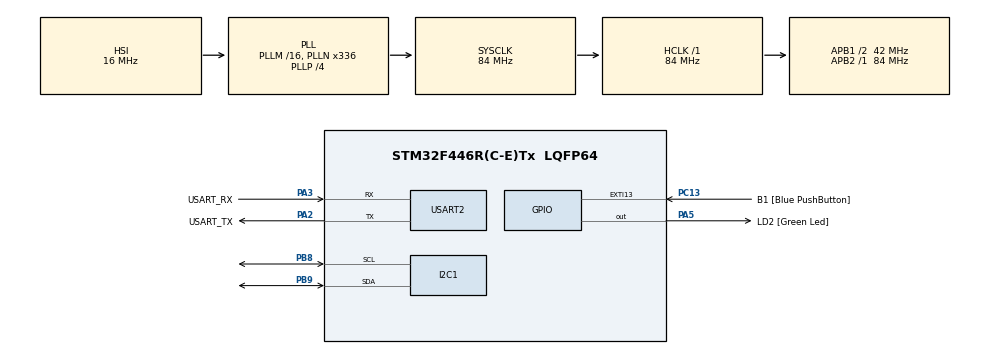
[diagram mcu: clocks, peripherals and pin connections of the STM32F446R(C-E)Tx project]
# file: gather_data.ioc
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Mcu.Family=STM32F4
Mcu.Name=STM32F446R(C-E)Tx
Mcu.Package=LQFP64
NVIC.PriorityGroup=NVIC_PRIORITYGROUP_0
PA13.GPIO_Label=TMS
PA13.Mode=Serial_Wire
PA13.Signal=SYS_JTMS-SWDIO
PA14.GPIO_Label=TCK
PA14.Mode=Serial_Wire
PA14.Signal=SYS_JTCK-SWCLK
PA2.GPIO_Label=USART_TX
PA2.Mode=Asynchronous
PA2.Signal=USART2_TX
PA3.GPIO_Label=USART_RX
PA3.Mode=Asynchronous
PA3.Signal=USART2_RX
PA5.GPIO_Label=LD2 [Green Led]
PA5.Signal=GPIO_Output
PB3.GPIO_Label=SWO
PB3.Signal=SYS_JTDO-SWO
PB8.Mode=I2C
PB8.Signal=I2C1_SCL
PB9.Mode=I2C
PB9.Signal=I2C1_SDA
PC13.GPIO_Label=B1 [Blue PushButton]
PC13.GPIO_ModeDefaultEXTI=GPIO_MODE_IT_FALLING
PC13.Signal=GPXTI13
PC14-OSC32_IN.Mode=LSE-External-Oscillator
PC14-OSC32_IN.Signal=RCC_OSC32_IN
PC15-OSC32_OUT.Mode=LSE-External-Oscillator
PC15-OSC32_OUT.Signal=RCC_OSC32_OUT
PH0-OSC_IN.Mode=HSE-External-Oscillator
PH0-OSC_IN.Signal=RCC_OSC_IN
PH1-OSC_OUT.Mode=HSE-External-Oscillator
PH1-OSC_OUT.Signal=RCC_OSC_OUT
ProjectManager.HeapSize=0x200
ProjectManager.StackSize=0x400
ProjectManager.TargetToolchain=STM32CubeIDE
RCC.48MHZClocksFreq_Value=84000000
RCC.AHBFreq_Value=84000000
RCC.APB1CLKDivider=RCC_HCLK_DIV2
RCC.APB1Freq_Value=42000000
RCC.APB1TimFreq_Value=84000000
RCC.APB2Freq_Value=84000000
RCC.APB2TimFreq_Value=84000000
RCC.CortexFreq_Value=84000000
RCC.FLatency-AdvancedSettings=FLASH_LATENCY_2
RCC.HCLKFreq_Value=84000000
RCC.HSE_VALUE=8000000
RCC.HSI_VALUE=16000000
RCC.PLLN=336
RCC.PLLP=RCC_PLLP_DIV4
RCC.SYSCLKFreq_VALUE=84000000
RCC.SYSCLKSource=RCC_SYSCLKSOURCE_PLLCLK
RCC.USBFreq_Value=168000000
RCC.VCOOutputFreq_Value=336000000
USART2.VirtualMode=VM_ASYNC
board=NUCLEO-F446RE

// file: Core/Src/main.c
/* USER CODE BEGIN Header */
/**
  ******************************************************************************
  * @file           : main.c
  * @brief          : Main program body
  ******************************************************************************
  * @attention
  *
  * Copyright (c) 2025 STMicroelectronics.
  * All rights reserved.
  *
  * This software is licensed under terms that can be found in the LICENSE file
  * in the root directory of this software component.
  * If no LICENSE file comes with this software, it is provided AS-IS.
  *
  ******************************************************************************
  */
/* USER CODE END Header */
#include "main.h"
#include "i2c.h"
#include "usart.h"
#include "gpio.h"

/* USER CODE BEGIN Includes */
#include "stdio.h"
#include "stdint.h"
#include "math.h"
/* USER CODE END Includes */

/* USER CODE BEGIN PD */
#define MPU6050_ADDR 0xD0
// MPU6050 registers.
#define MPU6050_WHO_AM_I 0x75
#define MPU6050_PWR_MGMT_1 0x6B
#define MPU6050_SMPRT_DIV 0x19
#define MPU6050_CONFIG 0x1A
#define MPU6050_gyro_CONFIG 0x1B
#define MPU6050_ACCEL_CONFIG 0x1C
#define MPU6050_ACCEL_READ 0x3B
#define MPU6050_gyro_READ 0x43
#define MPU6050_SELF_TEST 0x0D
#define CALIBRATION_SAMPLES 1000
/* USER CODE END PD */

/* USER CODE BEGIN PV */
int16_t acc_x_raw, acc_y_raw, acc_z_raw;
int16_t gyro_x_raw, gyro_y_raw, gyro_z_raw;

int16_t acc_x_offset = 0, acc_y_offset = 0, acc_z_offset = 0;
int16_t gyro_x_offset = 0, gyro_y_offset = 0, gyro_z_offset = 0;

float acc_x, acc_y, acc_z;
float gyro_x, gyro_y, gyro_z;

float acc_lsb = 16384.0;
float gyro_lsb = 131.0;

/* USER CODE END PV */

void SystemClock_Config(void);
/* USER CODE BEGIN PFP */
void MPU6050_Init(void);
void MPU6050_Reset(void);
void MPU6050_Calibrate(void);
void MPU6050_ReadAcc(void);
void MPU6050_ReadGyro(void);
int ReadButton(void);

/* USER CODE END PFP */

/* USER CODE BEGIN 0 */
// Redirecting printf to SWO, needs syscall.
int __io_putchar(int ch)
{
	ITM_SendChar(ch);
	return(ch);
}
/* USER CODE END 0 */

int main(void)
{

  /* MCU Configuration--------------------------------------------------------*/

  /* Reset of all peripherals, Initializes the Flash interface and the Systick. */
  HAL_Init();

  /* Configure the system clock */
  SystemClock_Config();

  /* Initialize all configured peripherals */
  MX_GPIO_Init();
  MX_USART2_UART_Init();
  MX_I2C1_Init();
  /* USER CODE BEGIN 2 */
  MPU6050_Init();
  /* USER CODE END 2 */

  /* Infinite loop */
  /* USER CODE BEGIN WHILE */
  MPU6050_Calibrate();
  HAL_Delay(5000);
  while (1)
  {
    /* USER CODE END WHILE */

    /* USER CODE BEGIN 3 */
	  MPU6050_ReadAcc();
	  MPU6050_ReadGyro();
	  printf("%f, %f, %f, %f, %f, %f\n", acc_x, acc_y, acc_z, gyro_x, gyro_y, gyro_z);
	  HAL_Delay(25);
  }
  /* USER CODE END 3 */
}

void SystemClock_Config(void)
{
  RCC_OscInitTypeDef RCC_OscInitStruct = {0};
  RCC_ClkInitTypeDef RCC_ClkInitStruct = {0};

  /** Configure the main internal regulator output voltage
  */
  __HAL_RCC_PWR_CLK_ENABLE();
  __HAL_PWR_VOLTAGESCALING_CONFIG(PWR_REGULATOR_VOLTAGE_SCALE3);

  /** Initializes the RCC Oscillators according to the specified parameters
  * in the RCC_OscInitTypeDef structure.
  */
  RCC_OscInitStruct.OscillatorType = RCC_OSCILLATORTYPE_HSI;
  RCC_OscInitStruct.HSIState = RCC_HSI_ON;
  RCC_OscInitStruct.HSICalibrationValue = RCC_HSICALIBRATION_DEFAULT;
  RCC_OscInitStruct.PLL.PLLState = RCC_PLL_ON;
  RCC_OscInitStruct.PLL.PLLSource = RCC_PLLSOURCE_HSI;
  RCC_OscInitStruct.PLL.PLLM = 16;
  RCC_OscInitStruct.PLL.PLLN = 336;
  RCC_OscInitStruct.PLL.PLLP = RCC_PLLP_DIV4;
  RCC_OscInitStruct.PLL.PLLQ = 2;
  RCC_OscInitStruct.PLL.PLLR = 2;
  if (HAL_RCC_OscConfig(&RCC_OscInitStruct) != HAL_OK)
  {
    Error_Handler();
  }

  /** Initializes the CPU, AHB and APB buses clocks
  */
  RCC_ClkInitStruct.ClockType = RCC_CLOCKTYPE_HCLK|RCC_CLOCKTYPE_SYSCLK
                              |RCC_CLOCKTYPE_PCLK1|RCC_CLOCKTYPE_PCLK2;
  RCC_ClkInitStruct.SYSCLKSource = RCC_SYSCLKSOURCE_PLLCLK;
  RCC_ClkInitStruct.AHBCLKDivider = RCC_SYSCLK_DIV1;
  RCC_ClkInitStruct.APB1CLKDivider = RCC_HCLK_DIV2;
  RCC_ClkInitStruct.APB2CLKDivider = RCC_HCLK_DIV1;

  if (HAL_RCC_ClockConfig(&RCC_ClkInitStruct, FLASH_LATENCY_2) != HAL_OK)
  {
    Error_Handler();
  }
}

/* USER CODE BEGIN 4 */
void MPU6050_Init(void)
{
	HAL_StatusTypeDef status = HAL_I2C_IsDeviceReady(&hi2c1, MPU6050_ADDR, 1, 1000);
	if(status == HAL_OK)
	{
	    printf("I2C device is ready.\n");
	}
	else
	{
	    printf("Error connecting to the I2C device.\n");
	}
	uint8_t check;
	/*
	 * This register is used to verify the identity of the device.
	 * The default value of the register for MPU6050 is 0x68.
	 */
	HAL_I2C_Mem_Read (&hi2c1, MPU6050_ADDR, MPU6050_WHO_AM_I, 1, &check, 1, 1000);
	if (check == 0x68)
	{
	    printf("MPU6050 is ready!\n");
	    uint8_t Data;
	    /*
	     * PWR_MGMT_1: Wakes up MPU6050. Turns off temperature sensor.
	     * SMPRT_DIV: Specifies the divider from the gyroscope output rate used to generate the Sample Rate.
	     * Sample Rate = gyroscope Output Rate / (1 + SMPLRT_DIV). -> 8KHZ / (1 +7) = 1KHz
	     * ACCEL_CONFIG: Sets full scale range, triggers self test.
	     * Accelometer range set to: 2g, sensibility: 16384.
	     * gyro_CONFIG: Sets full scale range, triggers self test.
	     * gyroscope range set to: 250 °/s, sensibility 16384.
	     */
	    Data = 0b00001000;
	    HAL_I2C_Mem_Write(&hi2c1, MPU6050_ADDR, MPU6050_PWR_MGMT_1, 1, &Data, 1, 1000);
	    Data = 0x0;
	    HAL_I2C_Mem_Write(&hi2c1, MPU6050_ADDR, MPU6050_CONFIG, 1, &Data, 1, 1000);
	    Data = 0x10;
	    HAL_I2C_Mem_Write(&hi2c1, MPU6050_ADDR, MPU6050_SMPRT_DIV, 1, &Data, 1,  1000);
	    Data = 0x0;
	    HAL_I2C_Mem_Write(&hi2c1, MPU6050_ADDR, MPU6050_ACCEL_CONFIG, 1, &Data, 1, 1000);
	    Data = 0x0;
	    HAL_I2C_Mem_Write(&hi2c1, MPU6050_ADDR, MPU6050_gyro_CONFIG, 1, &Data, 1, 1000);
	    HAL_Delay(300);
	}
}

void MPU6050_Calibrate(void)
{
    int32_t acc_x_sum = 0;
    int32_t acc_y_sum = 0;
    int32_t acc_z_sum = 0;

    int32_t gyro_x_sum = 0;
    int32_t gyro_y_sum = 0;
    int32_t gyro_z_sum = 0;

    for (int i = 0; i < CALIBRATION_SAMPLES; i++)
    {
        // Read acc and gyro values.
    	MPU6050_ReadAcc();
        MPU6050_ReadGyro();

        // Sum the values;
        acc_x_sum += acc_x_raw;
        acc_y_sum += acc_y_raw;
        acc_z_sum += acc_z_raw;

        gyro_x_sum += gyro_x_raw;
        gyro_y_sum += gyro_y_raw;
        gyro_z_sum += gyro_z_raw;

        HAL_Delay(10);
    }

    // Get average.
    acc_x_offset = acc_x_sum / CALIBRATION_SAMPLES;
    acc_y_offset = acc_y_sum / CALIBRATION_SAMPLES;
    acc_z_offset = acc_z_sum / CALIBRATION_SAMPLES - (int16_t)acc_lsb;

    gyro_x_offset = gyro_x_sum / CALIBRATION_SAMPLES;
    gyro_y_offset = gyro_y_sum / CALIBRATION_SAMPLES;
    gyro_z_offset = gyro_z_sum / CALIBRATION_SAMPLES;

    printf("Calibration Complete!\n");
    printf("Accelerometer Offsets: X = %d, Y = %d, Z = %d\n", acc_x_offset, acc_y_offset, acc_z_offset);
    printf("gyroscope Offsets: X = %d, Y = %d, Z = %d\n", gyro_x_offset, gyro_y_offset, gyro_z_offset);
}

void MPU6050_Reset(void) {
    uint8_t reset_command = 0x80;
    HAL_I2C_Mem_Write(&hi2c1, MPU6050_ADDR, MPU6050_PWR_MGMT_1, 1, &reset_command, 1, 1000);
    HAL_Delay(100);
}

void MPU6050_ReadAcc(void)
{
	/*
	 * Read from 6 registers all the Accel values.
	 */
	uint8_t rec_data[6];
	HAL_I2C_Mem_Read(&hi2c1, MPU6050_ADDR, MPU6050_ACCEL_READ, 1, rec_data, 6, 1000);

	/*
	 * Raw value is 16 bit - merge every two registers.
	 */
	 acc_x_raw = (int16_t)(rec_data[0] << 8 | rec_data[1]) - acc_x_offset;
	 acc_y_raw = (int16_t)(rec_data[2] << 8 | rec_data[3]) - acc_y_offset;
	 acc_z_raw = (int16_t)(rec_data[4] << 8 | rec_data[5]) - acc_z_offset;

	/*
	 * Normalization: raw data to degrees per second.
	 * Analog data -> digital data.
	 * LSB Sensitivity defines physical value corresponds to one unit in the digital scale. (?)
	 * Divide by the set sensibility for chosen range.
	 */
	acc_x = (float)acc_x_raw/acc_lsb;
	acc_y = (float)acc_y_raw/acc_lsb;
	acc_z = (float)acc_z_raw/acc_lsb;
}

void MPU6050_ReadGyro(void)
{
	/*
  	 * Read from 6 registers all the gyro values.
  	 */
	uint8_t rec_data[6];

	HAL_I2C_Mem_Read (&hi2c1, MPU6050_ADDR, MPU6050_gyro_READ, 1, rec_data, 6, 1000);

	/*
	* Raw value is 16 bit - merge every two registers.
	*/
	gyro_x_raw = (int16_t)(rec_data[0] << 8 | rec_data[1]) - gyro_x_offset;
	gyro_y_raw = (int16_t)(rec_data[2] << 8 | rec_data[3]) - gyro_y_offset;
	gyro_z_raw = (int16_t)(rec_data[4] << 8 | rec_data[5]) - gyro_z_offset;;

	/*
	 * Normalization: raw data to degrees per second.
	 * Divide by the set sensibility for chosen range.
	 */
	gyro_x = (float)gyro_x_raw/gyro_lsb;
	gyro_y = (float)gyro_y_raw/gyro_lsb;
	gyro_z = (float)gyro_z_raw/gyro_lsb;
}

int ReadButton(void)
{
	int button_state = HAL_GPIO_ReadPin(B1_GPIO_Port, B1_Pin);
	return button_state;
}
/* USER CODE END 4 */

void Error_Handler(void)
{
  __disable_irq();
  while (1)
  {
  }
}
